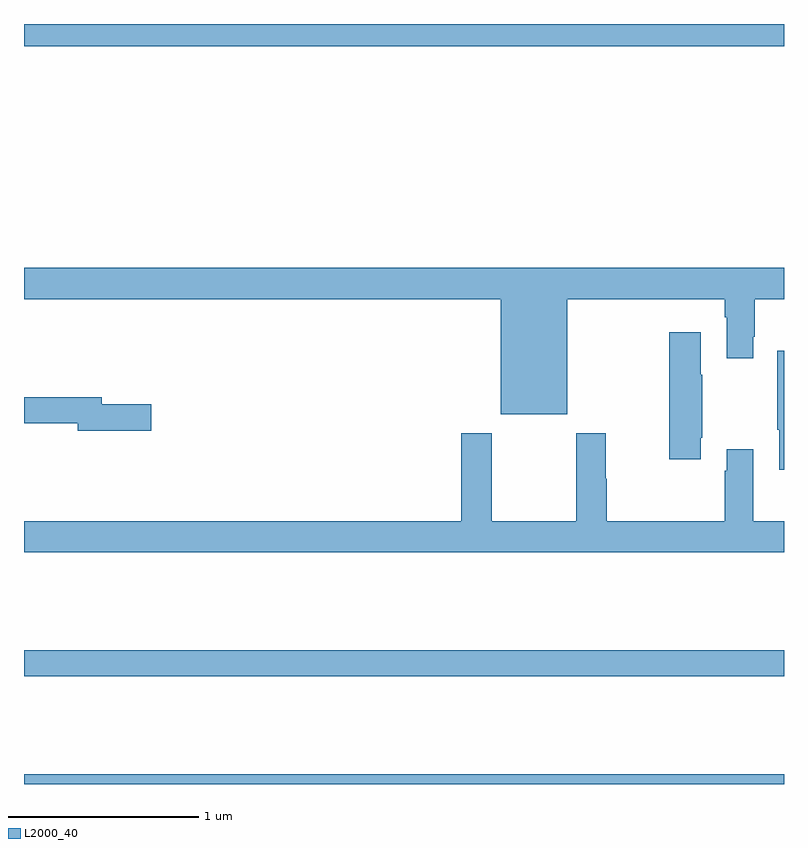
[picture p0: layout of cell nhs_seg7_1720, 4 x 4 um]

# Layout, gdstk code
import gdstk
lib = gdstk.Library(unit=1e-6, precision=1e-09)
def R(c, l, rs):  # rectangles x0, y0, x1, y1
    for r in rs: c.add(gdstk.rectangle(r[:2], r[2:], *l))
def P(c, l, *ps):  # polygons
    for p in ps: c.add(gdstk.Polygon(p, *l))
L2000_40 = (2000, 40)

nhs_seg7_1720 = lib.new_cell('nhs_seg7_1720')
R(nhs_seg7_1720, L2000_40, [(227,1062,231,1062.052), (227,1062.568,231,1062.704), (227,1065.884,231,1066)])
P(nhs_seg7_1720, L2000_40, [(229.858,1064.552),(230.687,1064.552),(230.687,1064.456),(230.699,1064.456),(230.699,1064.241),(230.839,1064.241),(230.839,1064.353),(230.847,1064.353),(230.847,1064.552),(231,1064.552),(231,1064.716),(227,1064.716),(227,1064.552),(229.508,1064.552),(229.508,1063.946),(229.858,1063.946)],
  [(230.563,1063.822),(230.571,1063.822),(230.571,1064.153),(230.563,1064.153),(230.563,1064.377),(230.396,1064.377),(230.396,1063.71),(230.563,1063.71)],
  [(231,1064.281),(230.964,1064.281),(230.964,1063.865),(230.975,1063.865),(230.975,1063.653),(231,1063.653)],
  [(227.671,1064),(227.41,1064),(227.41,1064.036),(227,1064.036),(227,1063.9),(227.282,1063.9),(227.282,1063.858),(227.671,1063.858)],
  [(231,1063.384),(230.839,1063.384),(230.839,1063.762),(230.699,1063.762),(230.699,1063.649),(230.687,1063.649),(230.687,1063.384),(230.066,1063.384),(230.066,1063.607),(230.061,1063.607),(230.061,1063.846),(229.906,1063.846),(229.906,1063.384),(229.461,1063.384),(229.461,1063.846),(229.301,1063.846),(229.301,1063.384),(227,1063.384),(227,1063.22),(231,1063.22)])

lib.write_gds('nhs_seg7_1720.gds')
